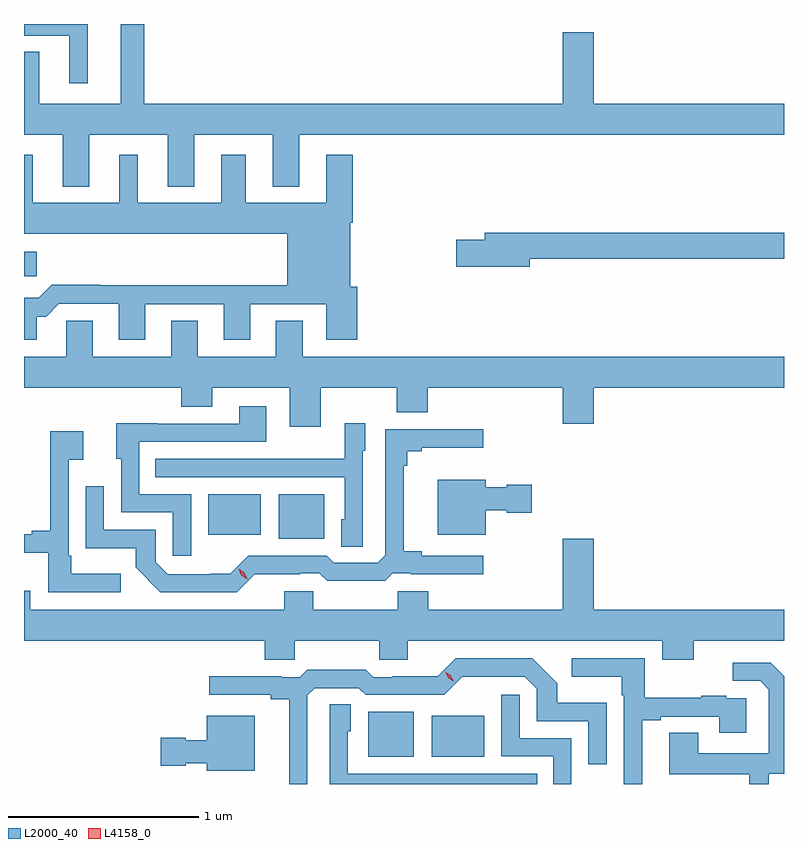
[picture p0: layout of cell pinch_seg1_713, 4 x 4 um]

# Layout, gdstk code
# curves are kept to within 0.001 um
import gdstk
lib = gdstk.Library(unit=1e-6, precision=1e-09)
def R(c, l, rs):  # rectangles x0, y0, x1, y1
    for r in rs: c.add(gdstk.rectangle(r[:2], r[2:], *l))
def P(c, l, *ps):  # polygons
    for p in ps: c.add(gdstk.Polygon(p, *l))
L2000_40 = (2000, 40)
L4158_0 = (4158, 0)

pinch_seg1_713 = lib.new_cell('pinch_seg1_713')
R(pinch_seg1_713, L2000_40, [(643.505,519.155,643.744,519.391), (643.838,519.155,644.116,519.37), (643.034,520.301,643.273,520.537), (642.662,520.322,642.94,520.537), (641.693,521.683,641.761,521.812)])
P(pinch_seg1_713, L2000_40, [(642.037,522.428),(642.449,522.428),(642.449,522.155),(642.589,522.155),(642.589,522.428),(643.001,522.428),(643.001,522.155),(643.141,522.155),(643.141,522.428),(645.693,522.428),(645.693,522.592),(644.692,522.592),(644.692,522.967),(644.528,522.967),(644.528,522.592),(642.325,522.592),(642.325,523.011),(642.203,523.011),(642.203,522.592),(641.773,522.592),(641.773,522.865),(641.693,522.865),(641.693,522.428),(641.897,522.428),(641.897,522.155),(642.037,522.155)],
  [(642.028,523.011),(641.693,523.011),(641.693,522.95),(641.93,522.95),(641.93,522.699),(642.028,522.699)],
  [(641.761,521.471),(641.81,521.471),(641.877,521.538),(642.191,521.538),(642.191,521.349),(642.331,521.349),(642.331,521.535),(642.743,521.535),(642.743,521.349),(642.883,521.349),(642.883,521.535),(643.283,521.535),(643.283,521.349),(643.448,521.349),(643.448,521.628),(643.411,521.628),(643.411,521.966),(643.424,521.966),(643.424,522.322),(643.283,522.322),(643.283,522.07),(642.859,522.07),(642.859,522.322),(642.731,522.322),(642.731,522.07),(642.292,522.07),(642.292,522.322),(642.194,522.322),(642.194,522.07),(641.74,522.07),(641.74,522.322),(641.693,522.322),(641.693,521.906),(643.079,521.906),(643.079,521.636),(642.095,521.636),(642.095,521.639),(641.84,521.639),(641.77,521.569),(641.693,521.569),(641.693,521.349),(641.761,521.349)],
  [(644.356,521.776),(645.693,521.776),(645.693,521.912),(644.117,521.912),(644.117,521.876),(643.968,521.876),(643.968,521.734),(644.356,521.734)],
  [(643.255,521.096),(643.655,521.096),(643.655,520.968),(643.819,520.968),(643.819,521.096),(644.528,521.096),(644.528,520.908),(644.692,520.908),(644.692,521.096),(645.693,521.096),(645.693,521.26),(643.159,521.26),(643.159,521.45),(643.019,521.45),(643.019,521.26),(642.607,521.26),(642.607,521.45),(642.467,521.45),(642.467,521.26),(642.055,521.26),(642.055,521.45),(641.916,521.45),(641.916,521.26),(641.693,521.26),(641.693,521.096),(642.521,521.096),(642.521,520.997),(642.685,520.997),(642.685,521.096),(643.091,521.096),(643.091,520.89),(643.255,520.89)],
  [(642.573,520.536),(642.3,520.536),(642.3,520.812),(642.967,520.812),(642.967,520.999),(642.827,520.999),(642.827,520.908),(642.397,520.908),(642.397,520.91),(642.179,520.91),(642.179,520.722),(642.204,520.722),(642.204,520.44),(642.477,520.44),(642.477,520.212),(642.573,520.212)],
  [(643.476,520.764),(643.489,520.764),(643.489,520.909),(643.38,520.909),(643.38,520.723),(643.063,520.723),(643.063,520.722),(642.385,520.722),(642.385,520.626),(643.38,520.626),(643.38,520.404),(643.364,520.404),(643.364,520.261),(643.476,520.261)],
  [(642.908,520.115),(643.148,520.115),(643.148,520.119),(643.248,520.119),(643.288,520.08),(643.595,520.08),(643.635,520.119),(643.729,520.119),(643.729,520.115),(644.11,520.115),(644.11,520.212),(643.786,520.212),(643.786,520.235),(643.691,520.235),(643.691,520.685),(643.709,520.685),(643.709,520.762),(643.786,520.762),(643.786,520.781),(644.11,520.781),(644.11,520.878),(643.593,520.878),(643.593,520.215),(643.554,520.176),(643.323,520.176),(643.287,520.212),(642.873,520.212),(642.779,520.118),(642.674,520.118),(642.674,520.116),(642.45,520.116),(642.387,520.179),(642.387,520.35),(642.114,520.35),(642.114,520.579),(642.018,520.579),(642.018,520.253),(642.28,520.253),(642.28,520.151),(642.41,520.02),(642.813,520.02)],
  [(642.202,520.117),(641.941,520.117),(641.941,520.213),(641.928,520.213),(641.928,520.718),(642.004,520.718),(642.004,520.867),(641.831,520.867),(641.831,520.345),(641.735,520.345),(641.735,520.326),(641.693,520.326),(641.693,520.229),(641.82,520.229),(641.82,520.02),(642.202,520.02)],
  [(644.122,520.451),(644.235,520.451),(644.235,520.439),(644.365,520.439),(644.365,520.586),(644.235,520.586),(644.235,520.573),(644.122,520.573),(644.122,520.612),(643.871,520.612),(643.871,520.322),(644.122,520.322)],
  [(645.217,519.764),(645.693,519.764),(645.693,519.928),(644.692,519.928),(644.692,520.303),(644.528,520.303),(644.528,519.928),(643.82,519.928),(643.82,520.026),(643.66,520.026),(643.66,519.928),(643.215,519.928),(643.215,520.026),(643.064,520.026),(643.064,519.928),(641.725,519.928),(641.725,520.027),(641.693,520.027),(641.693,519.764),(642.959,519.764),(642.959,519.666),(643.119,519.666),(643.119,519.764),(643.564,519.764),(643.564,519.666),(643.714,519.666),(643.714,519.764),(645.053,519.764),(645.053,519.665),(645.217,519.665)],
  [(643.185,519.477),(643.224,519.516),(643.455,519.516),(643.491,519.48),(643.905,519.48),(644,519.575),(644.328,519.576),(644.391,519.513),(644.391,519.342),(644.664,519.342),(644.664,519.114),(644.76,519.114),(644.76,519.439),(644.499,519.439),(644.499,519.542),(644.368,519.672),(643.965,519.672),(643.871,519.578),(643.63,519.578),(643.63,519.573),(643.53,519.573),(643.491,519.613),(643.183,519.613),(643.143,519.573),(643.049,519.573),(643.049,519.578),(642.669,519.578),(642.669,519.48),(642.992,519.48),(642.992,519.458),(643.088,519.458),(643.088,519.011),(643.185,519.011)],
  [(644.947,519.347),(645.043,519.347),(645.043,519.366),(645.353,519.366),(645.353,519.282),(645.493,519.282),(645.493,519.462),(645.389,519.462),(645.389,519.475),(645.257,519.475),(645.257,519.464),(644.959,519.464),(644.959,519.672),(644.577,519.672),(644.577,519.575),(644.838,519.575),(644.838,519.479),(644.85,519.479),(644.85,519.011),(644.947,519.011)],
  [(645.613,519.064),(645.693,519.064),(645.693,519.579),(645.623,519.649),(645.423,519.649),(645.423,519.555),(645.567,519.555),(645.614,519.508),(645.614,519.413),(645.612,519.413),(645.612,519.172),(645.241,519.172),(645.241,519.281),(645.089,519.281),(645.089,519.062),(645.509,519.062),(645.509,519.011),(645.613,519.011)],
  [(644.574,519.252),(644.301,519.252),(644.301,519.481),(644.205,519.481),(644.205,519.156),(644.478,519.156),(644.478,519.011),(644.574,519.011)],
  [(644.393,519.066),(643.398,519.066),(643.398,519.288),(643.414,519.288),(643.414,519.431),(643.302,519.431),(643.302,519.011),(644.393,519.011)],
  [(642.907,519.37),(642.656,519.37),(642.656,519.241),(642.543,519.241),(642.543,519.254),(642.414,519.254),(642.414,519.107),(642.543,519.107),(642.543,519.119),(642.656,519.119),(642.656,519.08),(642.907,519.08)])
P(pinch_seg1_713, L4158_0, [(642.867,520.088),(642.837,520.109),(642.822,520.144),(642.822,520.144),(642.822,520.144),(642.852,520.122),(642.867,520.088),(642.867,520.088)],
  [(643.956,519.548),(643.925,519.569),(643.909,519.602),(643.909,519.603),(643.909,519.603),(643.94,519.582),(643.956,519.548),(643.956,519.548)])

lib.write_gds('pinch_seg1_713.gds')
